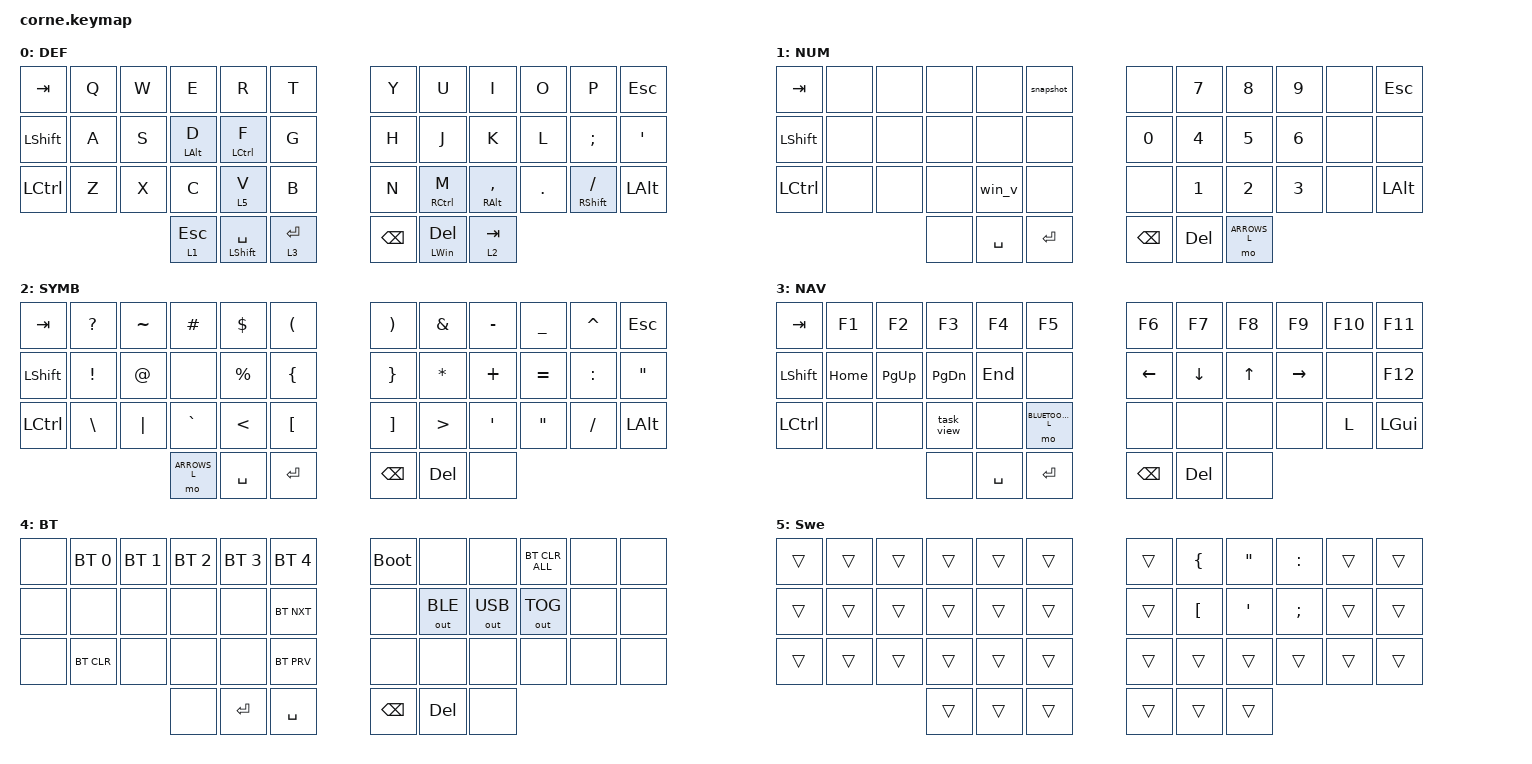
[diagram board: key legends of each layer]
/*
 * Copyright (c) 2020 The ZMK Contributors
 *
 * SPDX-License-Identifier: MIT
 */

#include <behaviors.dtsi>
#include <dt-bindings/zmk/bt.h>
#include <dt-bindings/zmk/keys.h>
#include <dt-bindings/zmk/outputs.h>

#define DEFAULT_L 0
#define NUMBERS_L 1
#define SYMBOLS_L 2
#define ARROWS_L  3
#define BLUETOOTH_L  4

/ {
    snapshot: snapshot {
        label = "Win_Shift_S";
        compatible = "zmk,behavior-macro";
        #binding-cells = <0>;
        bindings =
            <&macro_press>,
            <&kp LGUI &kp LSHFT>,
            <&macro_tap>,
            <&kp S>,
            <&macro_release>,
            <&kp LGUI &kp LSHFT>;
    };

    task_view: task_view {
        label = "Task_View";
        compatible = "zmk,behavior-macro";
        #binding-cells = <0>;
        bindings =
            <&macro_press>,
            <&kp LGUI>,
            <&macro_tap>,
            <&kp TAB>,
            <&macro_release>,
            <&kp LGUI>;
    };

    win_v: win_v {
        label = "Win_V";
        compatible = "zmk,behavior-macro";
        #binding-cells = <0>;
        bindings =
            <&macro_press>,
            <&kp LGUI>,
            <&macro_tap>,
            <&kp V>,
            <&macro_release>,
            <&kp LGUI>;
    };

    macros {
    };

    behaviors {
        hold_mo: hold_mo {
            compatible = "zmk,behavior-hold-tap";
            label = "HOLD_MO";
            bindings = <&mo>, <&kp>;

            #binding-cells = <2>;
            tapping-term-ms = <200>;
            flavor = "balanced";
        };

        hold_kp: hold_kp {
            compatible = "zmk,behavior-hold-tap";
            label = "HOLD_KP";
            bindings = <&kp>, <&kp>;

            #binding-cells = <2>;
            tapping-term-ms = <200>;
        };

        hrmL: hrmL {
            compatible = "zmk,behavior-hold-tap";
            label = "HRML";
            bindings = <&kp>, <&kp>;

            #binding-cells = <2>;
            tapping-term-ms = <280>;
            quick-tap-ms = <177>;
            require-prior-idle-ms = <150>;
            flavor = "balanced";
            hold-trigger-on-release;
            hold-trigger-key-positions = <6 7 8 9 10 11 23 22 33 21 20 19 18 30 31 32 34 35 41 40 39>;
        };

        hmrR: hmrR {
            compatible = "zmk,behavior-hold-tap";
            label = "HMRR";
            bindings = <&kp>, <&kp>;

            #binding-cells = <2>;
            tapping-term-ms = <280>;
            quick-tap-ms = <177>;
            require-prior-idle-ms = <150>;
            flavor = "balanced";
            hold-trigger-on-release;
            hold-trigger-key-positions = <0 1 2 3 4 5 17 16 15 14 13 12 24 25 26 27 28 29 36 37 38>;
        };
    };

    keymap {
        compatible = "zmk,keymap";

        default_layer {
            // -------------------------------------------------------------------------------------------------
            // [ Tab ][  Q  ][  W  ][  E  ][  R  ][  T  ]      [  Y  ][  U  ][  I  ][  O  ][  P  ][ Esc ]
            // [LSft ][  A  ][  S  ][  D  ][  F  ][  G  ]      [  H  ][  J  ][  K  ][  L  ][ ; : ][ ' " ]
            // [LCtrl][  Z  ][  X  ][  C  ][  V  ][  B  ]      [  N  ][  M  ][ , < ][ . > ][ / ? ][L Alt]
            //                        [NUM][Space][Enter]      [Bkspc][ Del ][SYMB]

            label = "DEF";
            bindings = <
&kp TAB           &kp Q  &kp W  &kp E              &kp R                   &kp T               &kp Y          &kp U           &kp I                  &kp O    &kp P                   &kp ESCAPE
&kp LEFT_SHIFT    &kp A  &kp S  &hrmL LEFT_ALT D   &hrmL LCTRL F           &kp G               &kp H          &kp J           &kp K                  &kp L    &kp SEMI                &kp SQT
&kp LEFT_CONTROL  &kp Z  &kp X  &kp C              &hold_mo 5 V            &kp B               &kp N          &hmrR RCTRL M   &hmrR RIGHT_ALT COMMA  &kp DOT  &hmrR RIGHT_SHIFT FSLH  &kp LEFT_ALT
                                &hold_mo 1 ESCAPE  &hrmL LEFT_SHIFT SPACE  &hold_mo 3 ENTER    &kp BACKSPACE  &hmrR LWIN DEL  &hold_mo 2 TAB
            >;
        };

        number_layer {
            // -------------------------------------------------------------------------------------------------
            // [ Tab ][     ][       ][    ][    ][Snapsht]     [     ][  7  ][  8  ][  9  ][     ][ Esc ]
            // [LSft ][     ][      ][     ][    ][       ]     [  0  ][  4  ][  5  ][  6  ][     ][     ]
            // [LCtrl][     ][      ][     ][WinV][       ]     [     ][  1  ][  2  ][  3  ][     ][L Alt]
            //                       [     ][Enter][Space ]     [Bkspc][ Del ][ NAV ]

            label = "NUM";
            bindings = <
&kp TAB           &none  &none  &none  &none      &snapshot     &none          &kp NUMBER_7  &kp NUMBER_8  &kp NUMBER_9  &none  &kp ESCAPE
&kp LEFT_SHIFT    &none  &none  &none  &none      &none         &kp NUMBER_0   &kp NUMBER_4  &kp NUMBER_5  &kp NUMBER_6  &none  &none
&kp LEFT_CONTROL  &none  &none  &none  &win_v     &none         &none          &kp NUMBER_1  &kp NUMBER_2  &kp NUMBER_3  &none  &kp LEFT_ALT
                                &none  &kp SPACE  &kp RETURN    &kp BACKSPACE  &kp DEL       &mo ARROWS_L
            >;
        };

        symbols_layer {
            // -------------------------------------------------------------------------------------------------
            // [ Tab ][  ?  ][  ~  ][  #  ][  $  ][  (  ]      [  )  ][  &  ][  -  ][  _  ][  ^  ][ Esc ]
            // [LSft ][  !  ][  @  ][     ][  %  ][  {  ]      [  }  ][  *  ][  +  ][  =  ][  :  ][  "  ]
            // [LCtrl][  \  ][  |  ][     ][  <  ][  [  ]      [  ]  ][  >  ][     ][     ][  /  ][L Alt]
            //                      [ NAV ][Space][Enter]      [Bkspc][ Del ][     ]

            label = "SYMB";
            bindings = <
&kp TAB           &kp QUESTION     &kp TILDE    &kp HASH      &kp DOLLAR   &kp LEFT_PARENTHESIS    &kp RIGHT_PARENTHESIS  &kp AMPERSAND  &kp MINUS  &kp UNDERSCORE     &kp CARET  &kp ESCAPE
&kp LEFT_SHIFT    &kp EXCLAMATION  &kp AT_SIGN  &none         &kp PERCENT  &kp LEFT_BRACE          &kp RIGHT_BRACE        &kp ASTERISK   &kp PLUS   &kp EQUAL          &kp COLON  &kp DOUBLE_QUOTES
&kp LEFT_CONTROL  &kp BACKSLASH    &kp PIPE     &kp GRAVE     &kp LT       &kp LEFT_BRACKET        &kp RIGHT_BRACKET      &kp GT         &kp SQT    &kp DOUBLE_QUOTES  &kp SLASH  &kp LEFT_ALT
                                                &mo ARROWS_L  &kp SPACE    &kp RETURN              &kp BACKSPACE          &kp DEL        &none
            >;
        };

        arrows_layer {
            // -------------------------------------------------------------------------------------------------
            // [ Tab][ F1 ][  F2  ][  F3  ][  F4 ][ F5   ]      [ F6   ][  F7  ][  F8  ][  F9 ][ F10 ][ F11  ]
            // [LSft][Home][ PgDn ][ PgUp ][ End ][      ]      [ LEFT ][ DOWN ][RIGHT ][  UP ][     ][  F12 ]
            // [LCtrl][   ][     ][TaskView][    ][  BT  ]      [      ][      ][     ][     ][  L  ][Windows]
            //                        [    ][Space][Enter]      [Bkspc][ Del ][     ]

            label = "NAV";
            bindings = <
&kp TAB           &kp F1    &kp F2       &kp F3         &kp F4     &kp F5             &kp F6         &kp F7    &kp F8  &kp F9     &kp F10  &kp F11
&kp LEFT_SHIFT    &kp HOME  &kp PAGE_UP  &kp PAGE_DOWN  &kp END    &none              &kp LEFT       &kp DOWN  &kp UP  &kp RIGHT  &none    &kp F12
&kp LEFT_CONTROL  &none     &none        &task_view     &none      &mo BLUETOOTH_L    &none          &none     &none   &none      &kp L    &kp LEFT_GUI
                                         &none          &kp SPACE  &kp RETURN         &kp BACKSPACE  &kp DEL   &none
            >;
        };

        bluetooth_layer {
            // -------------------------------------------------------------------------------------------------
            // [ Tab ][ BTCLR ][ BT0 ][ BT1 ][ BT2 ][ BT3 ]      [     ][     ][     ][        ][     ][     ]
            // [LSft ][       ][     ][     ][     ][BTNXT]      [     ][OUTBLE][OUTUSB][OUTTOG][     ][     ]
            // [LCtrl][       ][     ][     ][     ][BTPRV]      [     ][     ][     ][        ][     ][L Alt]
            //                         [    ][Enter][Space]      [Bkspc][ Del ][    ]

            label = "BT";
            bindings = <
&none  &bt BT_SEL 0  &bt BT_SEL 1  &bt BT_SEL 2  &bt BT_SEL 3  &bt BT_SEL 4    &bootloader    &none         &none         &bt BT_CLR_ALL  &none  &none
&none  &none         &none         &none         &none         &bt BT_NXT      &none          &out OUT_BLE  &out OUT_USB  &out OUT_TOG    &none  &none
&none  &bt BT_CLR    &none         &none         &none         &bt BT_PRV      &none          &none         &none         &none           &none  &none
                                   &none         &kp RETURN    &kp SPACE       &kp BACKSPACE  &kp DEL       &none
            >;
        };

        Swe {
            bindings = <
&trans  &trans  &trans  &trans  &trans  &trans    &trans  &kp LEFT_BRACE    &kp DOUBLE_QUOTES  &kp COLON  &trans  &trans
&trans  &trans  &trans  &trans  &trans  &trans    &trans  &kp LEFT_BRACKET  &kp SINGLE_QUOTE   &kp SEMI   &trans  &trans
&trans  &trans  &trans  &trans  &trans  &trans    &trans  &trans            &trans             &trans     &trans  &trans
                        &trans  &trans  &trans    &trans  &trans            &trans
            >;
        };
    };
};
